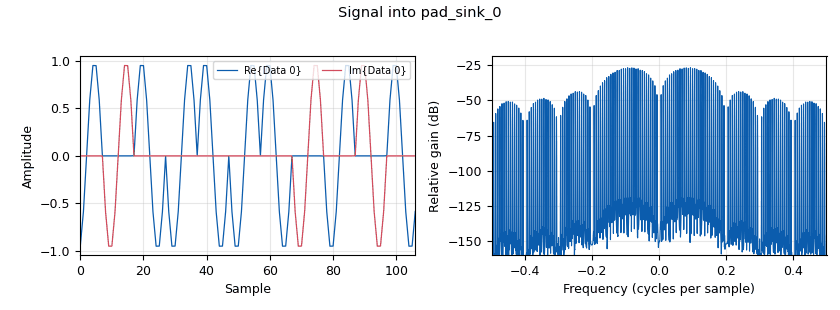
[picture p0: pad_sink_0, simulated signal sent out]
options:
  parameters:
    category: '[Radar Waveform Blocks]'
    generate_options: hb
    id: polyphase_waveform
    output_language: python
    title: Polyphase Waveform Block
  states: {}

blocks:
- name: analog_sig_source_x_0
  id: analog_sig_source_x
  parameters:
    amp: source_amplitude
    freq: samp_freq
    offset: '0'
    phase: '0'
    samp_rate: samp_rate
    type: float
    waveform: analog.GR_SIN_WAVE
  states: {}
- name: analog_sig_source_x_0_0
  id: analog_sig_source_x
  parameters:
    amp: source_amplitude
    freq: samp_freq
    offset: '0'
    phase: '0'
    samp_rate: samp_rate
    type: float
    waveform: analog.GR_SIN_WAVE
  states: {}
- name: blocks_float_to_complex_0
  id: blocks_float_to_complex
  parameters: {}
  states: {}
- name: blocks_multiply_xx_0
  id: blocks_multiply_xx
  parameters:
    type: float
  states: {}
- name: blocks_multiply_xx_0_0
  id: blocks_multiply_xx
  parameters:
    type: float
  states: {}
- name: blocks_repeat_0
  id: blocks_repeat
  parameters:
    interp: int(samp_rate/samp_freq)
    type: float
  states: {}
- name: blocks_repeat_0_0
  id: blocks_repeat
  parameters:
    interp: int(samp_rate/samp_freq)
    type: float
  states: {}
- name: code_length
  id: parameter
  parameters:
    label: Code_Length
    type: eng_float
    value: '16'
  states: {}
- name: epy_block_0_0
  id: epy_block
  parameters:
    _source_code: "\"\"\"\nEmbedded Python Blocks:\n\nEach time this file is saved, GRC will instantiate the first class it finds\nto get ports and parameters of your block. The arguments to __init__  will\nbe the parameters. All of them are required to have default values!\n\"\"\"\n\nimport numpy as np\nfrom gnuradio import gr\nimport math\n\ndef pol2cart(theta,rho):\n    x =rho * math.cos(theta)\n    y =rho * math.sin(theta)\n    return x, y\n\n\n\nclass blk(gr.sync_block):  # other base classes are basic_block, decim_block, interp_block\n    \"\"\"Embedded Python Block example - a simple multiply const\"\"\"\n\n    def __init__(self, code_length = 16, kind_of_signal = \"Frank\"):  # only default arguments here\n        \"\"\"arguments to this function show up as parameters in GRC\"\"\"\n        gr.sync_block.__init__(\n            self,\n            name='Polyphase Code Vector Source',   # will show up in GRC\n            in_sig=None,\n            out_sig=[np.float32, np.float32]\n        )\n        # if an attribute with the same name as a parameter is found,\n        # a callback is registered (properties work, too).\n        self.code_length = code_length\n        self.kind = kind_of_signal\n    def work(self, input_items,output_items):\n        \"\"\"example: multiply with constant\"\"\"\n\n        freq_step = int(self.code_length ** (1/2))\n\n        if freq_step**2 != self.code_length:\n            print(\"Square root of code Length is not integer.\")\n            exit()\n            \n        delta_pi = math.pi / freq_step\n        delta_pi_2 = math.pi / self.code_length\n\n        items = np.zeros((self.code_length,2))\n\n        if self.kind == \"Frank\":\n            for j in range(1,freq_step+1):\n                for i in range(1,freq_step+1):\n                    frank_theta = 2*(i-1)*(j-1)*delta_pi\n                    items[(i-1)+(j-1)*freq_step] = pol2cart(frank_theta, 1)\n\n        elif self.kind == \"P1\":\n            for j in range(1,freq_step+1):\n                for i in range(1,freq_step+1):\n                    P1_theta = -(freq_step-(2*j-1))*((j-1)*freq_step+(i-1))*delta_pi\n                    items[(i-1)+(j-1)*freq_step] = pol2cart(P1_theta,1)\n\n        elif self.kind == \"P2\":\n            for j in range(1,freq_step+1):\n                for i in range(1,freq_step+1):\n                    P2_theta = 2*delta_pi*((freq_step+1)/2-i)*((freq_step+1)/2-j)\n                    items[(i-1)+(j-1)*freq_step] = pol2cart(P2_theta,1)                    \n\n        elif self.kind == \"P3\":\n            for i in range(1,self.code_length+1):\n                P3_theta = ((i-1)*(i-1))*delta_pi_2\n                items[i-1] = pol2cart(P3_theta,1)\n                #print(P3_theta)\n\n        elif self.kind == \"P4\":\n            for i in range(1,self.code_length+1):\n                P4_theta = (i-1)*(i-1-self.code_length)*delta_pi_2\n                items[i-1] = pol2cart(P4_theta,1)\n                #print(P4_theta)            \n        items = np.round(items,3)\n        #print(\"items = {}\".format(items))\n        for i in range(len(output_items[0])):\n            output_items[0][i] = items[i%self.code_length][0]\n            output_items[1][i] = items[i%self.code_length][1] \n        return len(output_items[0])\n\n"
    code_length: code_length
    kind_of_signal: kind_of_signal
  states: {}
- name: kind_of_signal
  id: parameter
  parameters:
    label: Kind of Signal
    type: str
    value: Frank
  states: {}
- name: pad_sink_0
  id: pad_sink
  parameters:
    label: out
    type: complex
  states: {}
- name: samp_freq
  id: parameter
  parameters:
    label: Sampling Frequency
    value: 3.2e3
  states: {}
- name: samp_rate
  id: parameter
  parameters:
    label: Sampling Rate
    type: eng_float
    value: 32e3
  states: {}
- name: source_amplitude
  id: parameter
  parameters:
    label: Source amplitude
    type: eng_float
    value: '1'
  states: {}

connections:
- [analog_sig_source_x_0, '0', blocks_multiply_xx_0, '1']
- [analog_sig_source_x_0_0, '0', blocks_multiply_xx_0_0, '1']
- [blocks_float_to_complex_0, '0', pad_sink_0, '0']
- [blocks_multiply_xx_0, '0', blocks_float_to_complex_0, '0']
- [blocks_multiply_xx_0_0, '0', blocks_float_to_complex_0, '1']
- [blocks_repeat_0, '0', blocks_multiply_xx_0, '0']
- [blocks_repeat_0_0, '0', blocks_multiply_xx_0_0, '0']
- [epy_block_0_0, '0', blocks_repeat_0, '0']
- [epy_block_0_0, '1', blocks_repeat_0_0, '0']

metadata:
  file_format: 1
